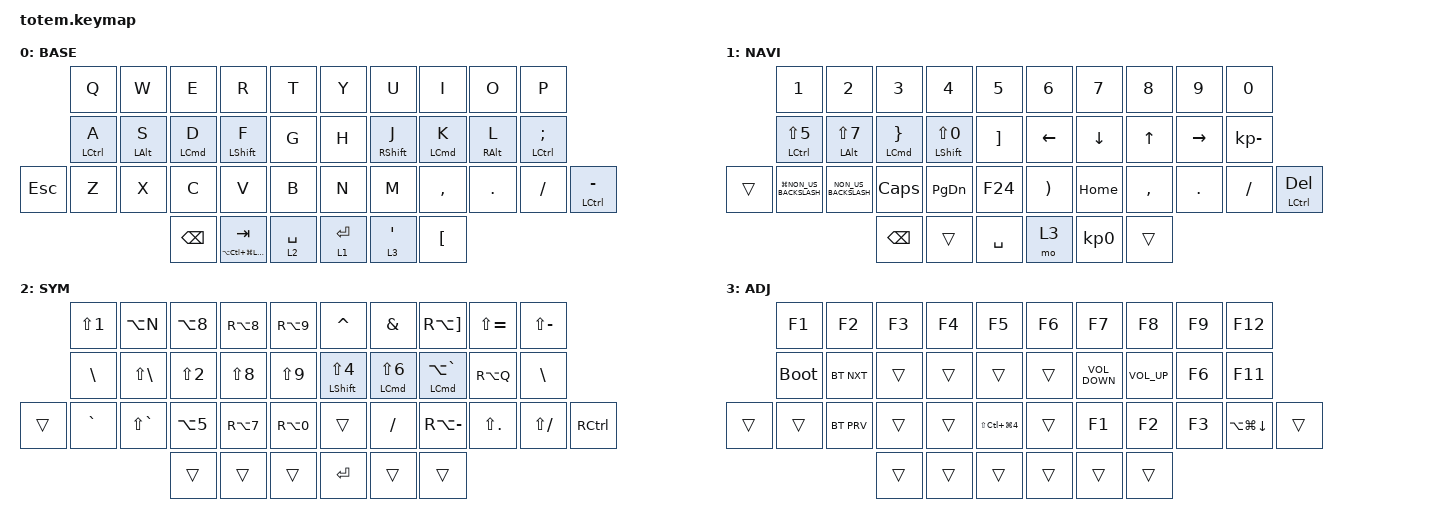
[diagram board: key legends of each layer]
//
//                                                        ▀▀▀▀▀     ▀▀▀▀▀          ▀▀█▀▀
//                                                        ▄▀▀▀▄  ▄  ▄▀▀▀▄  ▄  ▄▀▀▀▄  █  ▄▀▀▀▄
//                                                        █   █  █  █   █  █  █   █  █  █   █
//                                                         ▀▀▀   █   ▀▀▀   █   ▀▀▀   ▀   ▀▀▀
//                                                               █      ▄▄▄█▄▄▄    █   █  
//                                                               ▀      █  █  █     █▄█
//                                                             ▀▀▀▀▀    █  █  █      ▀
//                                                                      ▀  ▀  ▀
//
// ▄▄▄▄▄▄▄▄▄▄▄▄▄▄▄▄▄▄▄▄▄▄▄▄▄▄▄▄▄▄▄▄▄▄▄▄▄▄▄▄▄▄▄▄▄▄▄▄▄▄▄▄▄▄▄▄▄▄▄▄▄▄▄▄▄▄▄▄▄▄▄▄▄▄▄▄▄▄▄▄▄▄▄▄▄▄▄▄▄▄▄▄▄▄▄▄▄▄▄▄▄▄▄▄▄▄▄▄▄▄▄▄▄▄▄▄▄▄▄▄▄▄▄▄▄▄▄▄▄▄▄▄▄▄▄▄▄▄▄▄▄▄▄▄▄▄▄▄▄

#include <behaviors.dtsi>
#include <dt-bindings/zmk/bt.h>
#include <dt-bindings/zmk/keys.h>

#define BASE 0
#define NAV  1
#define SYM  2
#define ADJ  3
#define TVP1 4
#define TVP2 5

&mt {
    quick-tap-ms = <100>;
    global-quick-tap;
    flavor = "tap-preferred";
    tapping-term-ms = <170>;
};

/ {
    combos {
        compatible = "zmk,combos";

        combo_esc {
            timeout-ms = <50>;
            key-positions = <12 13>;
            bindings = <&kp ESC>;
        };

        escape {
            bindings = <&kp ESCAPE>;
            key-positions = <16 17>;
        };
    };

    macros {
        gif: gif {
            label = "giphy";
            compatible = "zmk,behavior-macro";
            #binding-cells = <0>;
            bindings =
                <&macro_press>,
                <&kp LSHFT>,
                <&macro_tap>,
                <&kp N2>,
                <&macro_release>,
                <&kp LSHFT>,
                <&macro_tap>,
                <&kp G &kp I &kp F>;
        };
    };

    keymap {
        compatible = "zmk,keymap";

        // ▄▄▄▄▄▄▄▄▄▄▄▄▄▄▄▄▄▄▄▄▄▄▄▄▄▄▄▄▄▄▄▄▄▄▄▄▄▄▄▄▄▄▄▄▄▄▄▄▄▄▄▄▄▄▄▄▄▄▄▄▄▄▄▄▄▄▄▄▄▄▄▄▄▄▄▄▄▄▄▄▄▄▄▄▄▄▄▄▄▄▄▄▄▄▄▄▄▄▄▄▄▄▄▄▄▄▄▄▄▄▄▄▄▄▄▄▄▄▄▄▄▄▄▄▄▄▄▄▄▄▄▄▄▄▄▄▄▄▄▄▄▄▄▄▄▄▄▄▄

        base_layer {
            // ┏━━━━━━━━━━━━━━━━━━━━━━━━━━━━━━━━━━━━━━━┓

            label = "BASE";

            // ┗━━━━━━━━━━━━━━━━━━━━━━━━━━━━━━━━━━━━━━━┛
            //             ┏━━━━━━━━━━━┳━━━━━━━━━━━┳━━━━━━━━━━━┳━━━━━━━━━━━┳━━━━━━━━━━━┓   ┏━━━━━━━━━━━┳━━━━━━━━━━━┳━━━━━━━━━━━┳━━━━━━━━━━━┳━━━━━━━━━━━┓
            //             ┃     Q     ┃     W     ┃     F     ┃     P     ┃     G     ┃   ┃     J     ┃     L     ┃     U     ┃     Y     ┃     ;     ┃
            //             ┣━━━━━━━━━━━╋━━━━━━━━━━━╋━━━━━━━━━━━╋━━━━━━━━━━━╋━━━━━━━━━━━┫   ┣━━━━━━━━━━━╋━━━━━━━━━━━╋━━━━━━━━━━━╋━━━━━━━━━━━╋━━━━━━━━━━━┫
            //             ┃     A     ┃     R     ┃     S     ┃     T     ┃     D     ┃   ┃     H     ┃     N     ┃     E     ┃     I     ┃     O     ┃
            // ┏━━━━━━━━━━━╋━━━━━━━━━━━╋━━━━━━━━━━━╋━━━━━━━━━━━╋━━━━━━━━━━━╋━━━━━━━━━━━┫   ┣━━━━━━━━━━━╋━━━━━━━━━━━╋━━━━━━━━━━━╋━━━━━━━━━━━╋━━━━━━━━━━━╋━━━━━━━━━━━┓
            // ┃     Q     ┃     Z     ┃     X     ┃     C     ┃     V     ┃     B     ┃   ┃     K     ┃     M     ┃     ,     ┃     .     ┃     /     ┃     \     ┃
            // ┗━━━━━━━━━━━┻━━━━━━━━━━━┻━━━━━━━━━━━╋━━━━━━━━━━━╋━━━━━━━━━━━╋━━━━━━━━━━━┫   ┣━━━━━━━━━━━╋━━━━━━━━━━━╋━━━━━━━━━━━╋━━━━━━━━━━━┻━━━━━━━━━━━┻━━━━━━━━━━━┛
            //                                     ┃    DEL    ┃    TAB    ┃    SPC    ┃   ┃   ENTER   ┃           ┃   BSPC    ┃
            //                                     ┗━━━━━━━━━━━┻━━━━━━━━━━━┻━━━━━━━━━━━┛   ┗━━━━━━━━━━━┻━━━━━━━━━━━┻━━━━━━━━━━━┛

            bindings = <
            &kp Q               &kp W       &kp E               &kp R                           &kp T          &kp Y      &kp U        &kp I               &kp O       &kp P
            &mt LEFT_CONTROL A  &mt LALT S  &mt LEFT_COMMAND D  &mt LEFT_SHIFT F                &kp G          &kp H      &mt RSHFT J  &mt LEFT_COMMAND K  &mt RALT L  &mt LEFT_CONTROL SEMICOLON
&kp ESCAPE  &kp Z               &kp X       &kp C               &kp V                           &kp B          &kp N      &kp M        &kp COMMA           &kp DOT     &kp FSLH                    &mt LEFT_CONTROL MINUS
                                            &kp BACKSPACE       &mt LA(LC(LG(LEFT_SHIFT))) TAB  &lt 2 SPACE    &lt 1 RET  &lt 3 SQT    &kp LEFT_BRACKET
            >;
        };

        // ▄▄▄▄▄▄▄▄▄▄▄▄▄▄▄▄▄▄▄▄▄▄▄▄▄▄▄▄▄▄▄▄▄▄▄▄▄▄▄▄▄▄▄▄▄▄▄▄▄▄▄▄▄▄▄▄▄▄▄▄▄▄▄▄▄▄▄▄▄▄▄▄▄▄▄▄▄▄▄▄▄▄▄▄▄▄▄▄▄▄▄▄▄▄▄▄▄▄▄▄▄▄▄▄▄▄▄▄▄▄▄▄▄▄▄▄▄▄▄▄▄▄▄▄▄▄▄▄▄▄▄▄▄▄▄▄▄▄▄▄▄▄▄▄▄▄▄▄▄

        nav_layer {
            // ┏━━━━━━━━━━━━━━━━━━━━━━━━━━━━━━━━━━━━━━━┓

            label = "NAVI";

            // ┗━━━━━━━━━━━━━━━━━━━━━━━━━━━━━━━━━━━━━━━┛
            //             ┏━━━━━━━━━━━┳━━━━━━━━━━━┳━━━━━━━━━━━┳━━━━━━━━━━━┳━━━━━━━━━━━┓   ┏━━━━━━━━━━━┳━━━━━━━━━━━┳━━━━━━━━━━━┳━━━━━━━━━━━┳━━━━━━━━━━━┓
            //             ┃           ┃           ┃     UP    ┃           ┃     {     ┃   ┃     }     ┃     7     ┃     8     ┃     9     ┃     +     ┃
            //             ┣━━━━━━━━━━━╋━━━━━━━━━━━╋━━━━━━━━━━━╋━━━━━━━━━━━╋━━━━━━━━━━━┫   ┣━━━━━━━━━━━╋━━━━━━━━━━━╋━━━━━━━━━━━╋━━━━━━━━━━━╋━━━━━━━━━━━┫
            //             ┃   SHIFT   ┃   LEFT    ┃    DOWN   ┃   RIGHT   ┃     [     ┃   ┃     ]     ┃     4     ┃     5     ┃     6     ┃     -     ┃
            // ┏━━━━━━━━━━━╋━━━━━━━━━━━╋━━━━━━━━━━━╋━━━━━━━━━━━╋━━━━━━━━━━━╋━━━━━━━━━━━┫   ┣━━━━━━━━━━━╋━━━━━━━━━━━╋━━━━━━━━━━━╋━━━━━━━━━━━╋━━━━━━━━━━━╋━━━━━━━━━━━┓
            // ┃           ┃           ┃   P UP    ┃  C LOCK   ┃  P DOWN   ┃     (     ┃   ┃     )     ┃     1     ┃     2     ┃     3     ┃     *     ┃           ┃
            // ┗━━━━━━━━━━━┻━━━━━━━━━━━┻━━━━━━━━━━━╋━━━━━━━━━━━╋━━━━━━━━━━━╋━━━━━━━━━━━┫   ┣━━━━━━━━━━━╋━━━━━━━━━━━╋━━━━━━━━━━━╋━━━━━━━━━━━┻━━━━━━━━━━━┻━━━━━━━━━━━┛
            //                                     ┃           ┃    TAB    ┃    SPC    ┃   ┃    DEL    ┃     0     ┃           ┃
            //                                     ┗━━━━━━━━━━━┻━━━━━━━━━━━┻━━━━━━━━━━━┛   ┗━━━━━━━━━━━┻━━━━━━━━━━━┻━━━━━━━━━━━┛

            bindings = <
        &kp NUMBER_1              &kp NUMBER_2          &kp NUMBER_3                  &kp NUMBER_4           &kp N5               &kp NUMBER_6  &kp N7     &kp N8        &kp N9      &kp N0
        &mt LEFT_CONTROL LS(N5)   &mt LEFT_ALT LS(N7)   &mt LEFT_COMMAND RIGHT_BRACE  &mt LEFT_SHIFT LS(N0)  &kp RIGHT_BRACKET    &kp LEFT      &kp DOWN   &kp UP_ARROW  &kp RIGHT   &kp KP_MINUS
&trans  &kp LG(NON_US_BACKSLASH)  &kp NON_US_BACKSLASH  &kp CAPS                      &kp PG_DN              &kp F24              &kp RPAR      &kp HOME   &kp COMMA     &kp PERIOD  &kp SLASH     &mt LEFT_CONTROL DELETE
                                                        &kp BACKSPACE                 &trans                 &kp SPACE            &mo 3         &kp KP_N0  &trans
            >;
        };

        // ▄▄▄▄▄▄▄▄▄▄▄▄▄▄▄▄▄▄▄▄▄▄▄▄▄▄▄▄▄▄▄▄▄▄▄▄▄▄▄▄▄▄▄▄▄▄▄▄▄▄▄▄▄▄▄▄▄▄▄▄▄▄▄▄▄▄▄▄▄▄▄▄▄▄▄▄▄▄▄▄▄▄▄▄▄▄▄▄▄▄▄▄▄▄▄▄▄▄▄▄▄▄▄▄▄▄▄▄▄▄▄▄▄▄▄▄▄▄▄▄▄▄▄▄▄▄▄▄▄▄▄▄▄▄▄▄▄▄▄▄▄▄▄▄▄▄▄▄▄

        sim_layer {
            // ┏━━━━━━━━━━━━━━━━━━━━━━━━━━━━━━━━━━━━━━━┓

            label = "SYM";

            // ┗━━━━━━━━━━━━━━━━━━━━━━━━━━━━━━━━━━━━━━━┛
            //             ┏━━━━━━━━━━━┳━━━━━━━━━━━┳━━━━━━━━━━━┳━━━━━━━━━━━┳━━━━━━━━━━━┓   ┏━━━━━━━━━━━┳━━━━━━━━━━━┳━━━━━━━━━━━┳━━━━━━━━━━━┳━━━━━━━━━━━┓
            //             ┃     !     ┃     @     ┃     #     ┃     $     ┃     %     ┃   ┃     ˆ     ┃     &     ┃     Ü     ┃     '     ┃     "     ┃
            //             ┣━━━━━━━━━━━╋━━━━━━━━━━━╋━━━━━━━━━━━╋━━━━━━━━━━━╋━━━━━━━━━━━┫   ┣━━━━━━━━━━━╋━━━━━━━━━━━╋━━━━━━━━━━━╋━━━━━━━━━━━╋━━━━━━━━━━━┫
            //             ┃     Ä     ┃           ┃    SZ     ┃           ┃           ┃   ┃   MUTE    ┃   YEN     ┃   EURO    ┃  POUND    ┃     Ö     ┃
            // ┏━━━━━━━━━━━╋━━━━━━━━━━━╋━━━━━━━━━━━╋━━━━━━━━━━━╋━━━━━━━━━━━╋━━━━━━━━━━━┫   ┣━━━━━━━━━━━╋━━━━━━━━━━━╋━━━━━━━━━━━╋━━━━━━━━━━━╋━━━━━━━━━━━╋━━━━━━━━━━━┓
            // ┃           ┃  EMAIL1   ┃  EMAIL2   ┃           ┃           ┃           ┃   ┃   VOL-    ┃   VOL+    ┃   LAST    ┃   NEXT    ┃     \     ┃           ┃
            // ┗━━━━━━━━━━━┻━━━━━━━━━━━┻━━━━━━━━━━━╋━━━━━━━━━━━╋━━━━━━━━━━━╋━━━━━━━━━━━┫   ┣━━━━━━━━━━━╋━━━━━━━━━━━╋━━━━━━━━━━━╋━━━━━━━━━━━┻━━━━━━━━━━━┻━━━━━━━━━━━┛
            //                                     ┃           ┃    GIF    ┃    ADJ    ┃   ┃           ┃           ┃           ┃
            //                                     ┗━━━━━━━━━━━┻━━━━━━━━━━━┻━━━━━━━━━━━┛   ┗━━━━━━━━━━━┻━━━━━━━━━━━┻━━━━━━━━━━━┛

            bindings = <
        &kp LS(NUMBER_1)  &kp LA(N)          &kp LA(N8)        &kp RA(N8)  &kp RA(N9)    &kp CARET                    &kp AMPS                       &kp RA(RIGHT_BRACKET)       &kp LS(EQUAL)   &kp LS(MINUS)
        &kp BACKSLASH     &kp LS(BACKSLASH)  &kp LS(NUMBER_2)  &kp LS(N8)  &kp LS(N9)    &mt LEFT_SHIFT LS(NUMBER_4)  &mt LEFT_COMMAND LS(NUMBER_6)  &mt LEFT_COMMAND LA(GRAVE)  &kp RA(Q)       &kp BACKSLASH
&trans  &kp GRAVE         &kp LS(GRAVE)      &kp LA(N5)        &kp RA(N7)  &kp RA(N0)    &trans                       &kp SLASH                      &kp RA(MINUS)               &kp LS(PERIOD)  &kp LS(SLASH)  &kp RCTRL
                                             &trans            &trans      &trans        &kp ENTER                    &trans                         &trans
            >;
        };

        // ▄▄▄▄▄▄▄▄▄▄▄▄▄▄▄▄▄▄▄▄▄▄▄▄▄▄▄▄▄▄▄▄▄▄▄▄▄▄▄▄▄▄▄▄▄▄▄▄▄▄▄▄▄▄▄▄▄▄▄▄▄▄▄▄▄▄▄▄▄▄▄▄▄▄▄▄▄▄▄▄▄▄▄▄▄▄▄▄▄▄▄▄▄▄▄▄▄▄▄▄▄▄▄▄▄▄▄▄▄▄▄▄▄▄▄▄▄▄▄▄▄▄▄▄▄▄▄▄▄▄▄▄▄▄▄▄▄▄▄▄▄▄▄▄▄▄▄▄▄

        adjust_layer {
            // ┏━━━━━━━━━━━━━━━━━━━━━━━━━━━━━━━━━━━━━━━┓

            label = "ADJ";

            // ┗━━━━━━━━━━━━━━━━━━━━━━━━━━━━━━━━━━━━━━━┛
            //             ┏━━━━━━━━━━━┳━━━━━━━━━━━┳━━━━━━━━━━━┳━━━━━━━━━━━┳━━━━━━━━━━━┓   ┏━━━━━━━━━━━┳━━━━━━━━━━━┳━━━━━━━━━━━┳━━━━━━━━━━━┳━━━━━━━━━━━┓
            //             ┃   RESET   ┃ BT CLEAR  ┃  OUT TOG  ┃           ┃           ┃   ┃           ┃    F7     ┃    F8     ┃    F9     ┃    F12    ┃
            //             ┣━━━━━━━━━━━╋━━━━━━━━━━━╋━━━━━━━━━━━╋━━━━━━━━━━━╋━━━━━━━━━━━┫   ┣━━━━━━━━━━━╋━━━━━━━━━━━╋━━━━━━━━━━━╋━━━━━━━━━━━╋━━━━━━━━━━━┫
            //             ┃ BOOTLOAD  ┃ BT NEXT   ┃           ┃           ┃           ┃   ┃           ┃    F4     ┃    F5     ┃    F6     ┃    F11    ┃
            // ┏━━━━━━━━━━━╋━━━━━━━━━━━╋━━━━━━━━━━━╋━━━━━━━━━━━╋━━━━━━━━━━━╋━━━━━━━━━━━┫   ┣━━━━━━━━━━━╋━━━━━━━━━━━╋━━━━━━━━━━━╋━━━━━━━━━━━╋━━━━━━━━━━━╋━━━━━━━━━━━┓
            // ┃           ┃           ┃ BT PREV   ┃           ┃           ┃           ┃   ┃           ┃    F1     ┃    F2     ┃    F3     ┃    F10    ┃           ┃
            // ┗━━━━━━━━━━━┻━━━━━━━━━━━┻━━━━━━━━━━━╋━━━━━━━━━━━╋━━━━━━━━━━━╋━━━━━━━━━━━┫   ┣━━━━━━━━━━━╋━━━━━━━━━━━╋━━━━━━━━━━━╋━━━━━━━━━━━┻━━━━━━━━━━━┻━━━━━━━━━━━┛
            //                                     ┃           ┃           ┃           ┃   ┃           ┃           ┃           ┃
            //                                     ┗━━━━━━━━━━━┻━━━━━━━━━━━┻━━━━━━━━━━━┛   ┗━━━━━━━━━━━┻━━━━━━━━━━━┻━━━━━━━━━━━┛

            bindings = <
        &kp F1       &kp F2      &kp F3  &kp F4  &kp F5                      &kp F6  &kp F7             &kp F8           &kp F9  &kp F12
        &bootloader  &bt BT_NXT  &trans  &trans  &trans                      &trans  &kp C_VOLUME_DOWN  &kp C_VOLUME_UP  &kp F6  &kp F11
&trans  &trans       &bt BT_PRV  &trans  &trans  &kp LS(LC(LG(NUMBER_4)))    &trans  &kp F1             &kp F2           &kp F3  &kp LA(LG(DOWN_ARROW))  &trans
                                 &trans  &trans  &trans                      &trans  &trans             &trans
            >;
        };

        // ▄▄▄▄▄▄▄▄▄▄▄▄▄▄▄▄▄▄▄▄▄▄▄▄▄▄▄▄▄▄▄▄▄▄▄▄▄▄▄▄▄▄▄▄▄▄▄▄▄▄▄▄▄▄▄▄▄▄▄▄▄▄▄▄▄▄▄▄▄▄▄▄▄▄▄▄▄▄▄▄▄▄▄▄▄▄▄▄▄▄▄▄▄▄▄▄▄▄▄▄▄▄▄▄▄▄▄▄▄▄▄▄▄▄▄▄▄▄▄▄▄▄▄▄▄▄▄▄▄▄▄▄▄▄▄▄▄▄▄▄▄▄▄▄▄▄▄▄▄
        // ▄▄▄▄▄▄▄▄▄▄▄▄▄▄▄▄▄▄▄▄▄▄▄▄▄▄▄▄▄▄▄▄▄▄▄▄▄▄▄▄▄▄▄▄▄▄▄▄▄▄▄▄▄▄▄▄▄▄▄▄▄▄▄▄▄▄▄▄▄▄▄▄▄▄▄▄▄▄▄▄▄▄▄▄▄▄▄▄▄▄▄▄▄▄▄▄▄▄▄▄▄▄▄▄▄▄▄▄▄▄▄▄▄▄▄▄▄▄▄▄▄▄▄▄▄▄▄▄▄▄▄▄▄▄▄▄▄▄▄▄▄▄▄▄▄▄▄▄▄
    };
};
